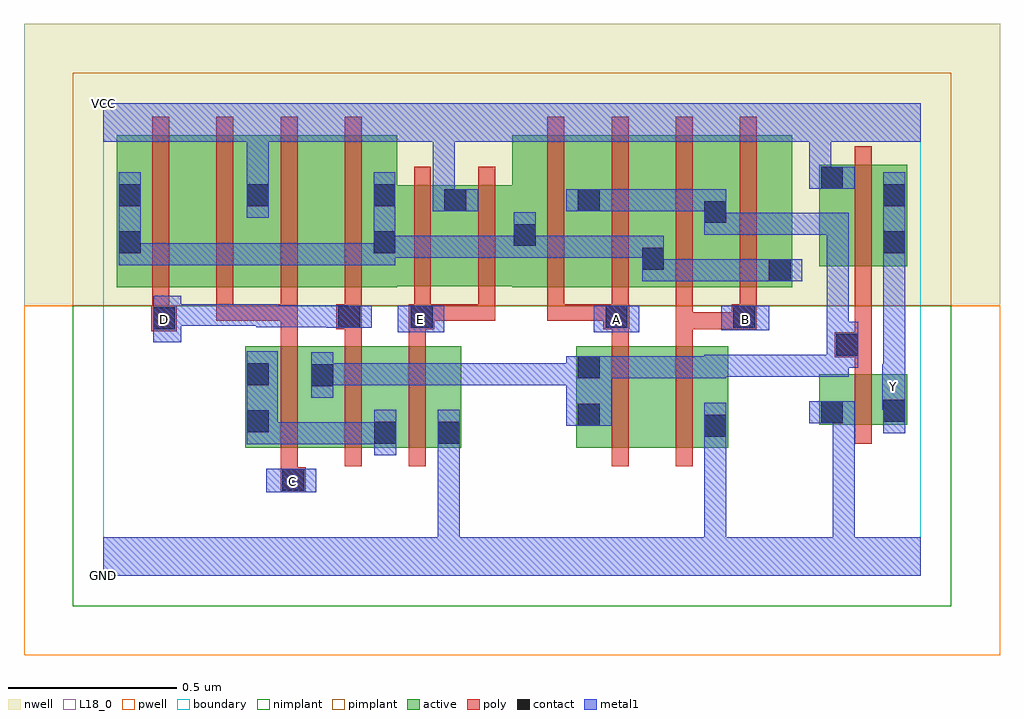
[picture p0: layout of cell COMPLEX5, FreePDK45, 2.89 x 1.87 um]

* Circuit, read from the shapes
.subckt COMPLEX5 A B C D E GND VCC Y
M1 n1 C n2 VSUBS nfet w=0.3u l=0.05u
M2 n2 D n1 VSUBS nfet w=0.3u l=0.05u
M3 GND E n2 VSUBS nfet w=0.3u l=0.05u
M4 n3 A n1 VSUBS nfet w=0.3u l=0.05u
M5 GND B n3 VSUBS nfet w=0.3u l=0.05u
M6 Y n1 GND VSUBS nfet w=0.15u l=0.05u
M7 n4 D n5 n6 pfet w=0.45u l=0.05u
M8 VCC C n4 n6 pfet w=0.45u l=0.05u
M9 n7 C VCC n6 pfet w=0.45u l=0.05u
M10 n5 D n7 n6 pfet w=0.45u l=0.05u
M11 VCC E n5 n6 pfet w=0.3u l=0.05u m=2
M12 n1 A n5 n6 pfet w=0.45u l=0.05u m=2
M13 n1 B n5 n6 pfet w=0.45u l=0.05u m=2
M14 Y n1 VCC n6 pfet w=0.3u l=0.05u
.ends

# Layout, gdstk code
import gdstk
lib = gdstk.Library(unit=1e-6, precision=1e-09)
def R(c, l, rs):  # rectangles x0, y0, x1, y1
    for r in rs: c.add(gdstk.rectangle(r[:2], r[2:], *l))
def A(c, l, x, y, w, h, nx, ny, dx, dy):  # array of equal rectangles
    R(c, l, [(x+i*dx, y+j*dy, x+i*dx+w, y+j*dy+h) for i in range(nx) for j in range(ny)])
active = (1, 0)
pwell = (2, 0)
nwell = (3, 0)
nimplant = (4, 0)
pimplant = (5, 0)
poly = (9, 0)
contact = (10, 0)
metal1 = (11, 0)
L18_0 = (18, 0)
boundary = (235, 0)

complex5 = lib.new_cell('COMPLEX5')
R(complex5, active, [(0.42,0.38,0.495,0.68), (0.42,0.38,0.685,0.68), (0.61,0.38,0.872,0.68), (0.797,0.38,0.872,0.547), (0.797,0.38,1.06,0.68), (0.985,0.38,1.06,0.68), (1.4,0.38,1.625,0.68), (1.625,0.38,1.85,0.68), (1.775,0.38,1.85,0.547), (1.4,0.382,1.475,0.68), (0.61,0.445,0.685,0.632), (2.12,0.447,2.195,0.597), (2.12,0.447,2.38,0.597), (2.305,0.447,2.38,0.597), (0.04,0.855,0.265,1.305), (0.04,0.855,0.145,1.2), (0.265,0.855,0.495,1.305), (0.42,0.855,0.645,1.305), (0.645,0.855,0.87,1.305), (1.21,0.855,1.475,1.305), (1.4,0.855,1.665,1.305), (1.4,0.855,1.475,1.2), (1.59,0.855,1.85,1.305), (1.59,0.855,1.665,1.07), (1.775,0.855,2.04,1.305), (1.775,0.855,1.85,1.2), (1.965,0.855,2.04,1.047), (0.42,0.857,0.495,1.305), (0.795,0.857,0.87,1.2), (0.795,0.857,1.08,1.157), (1.005,0.857,1.285,1.157), (1.21,0.857,1.285,1.2), (2.12,0.917,2.38,1.217), (2.305,0.917,2.38,1.19), (1.005,1.007,1.08,1.157), (2.12,1.007,2.195,1.217)])
R(complex5, pwell, [(-0.235,-0.235,2.655,0.8)])
R(complex5, nwell, [(-0.235,0.8,2.655,1.635)])
R(complex5, nimplant, [(-0.09,-0.09,2.51,0.8)])
R(complex5, pimplant, [(-0.09,0.8,2.51,1.49)])
A(complex5, poly, 0.525, 0.325, 0.05, 0.41, 3, 1, 0.19, 0)
A(complex5, poly, 0.335, 0.755, 0.05, 0.095, 3, 1, 0.19, 0)
A(complex5, poly, 0.145, 0.8, 0.05, 0.56, 4, 1, 0.19, 0)
A(complex5, poly, 1.315, 0.8, 0.05, 0.56, 4, 1, 0.19, 0)
R(complex5, poly, [(0.525,0.247,0.6,0.322), (0.525,0.272,0.575,0.375), (1.505,0.325,1.555,0.735), (1.695,0.325,1.745,0.735), (2.225,0.392,2.275,0.652), (2.225,0.602,2.275,0.697), (2.165,0.647,2.275,0.722), (2.225,0.672,2.275,0.912), (0.525,0.685,0.575,0.805), (0.715,0.685,0.765,0.78), (0.905,0.685,0.955,0.78), (1.505,0.685,1.555,0.78), (1.695,0.685,1.745,0.78), (0.142,0.725,0.217,0.8), (0.69,0.73,0.765,0.805), (0.905,0.73,0.98,0.805), (1.48,0.73,1.557,0.805), (1.695,0.73,1.91,0.78), (1.695,0.73,1.745,0.78), (1.695,0.73,1.745,0.78), (1.695,0.73,1.745,0.78), (1.695,0.73,1.745,0.85), (1.86,0.73,1.935,0.805), (0.145,0.75,0.195,0.85), (0.335,0.755,0.385,0.805), (0.335,0.755,0.575,0.805), (0.525,0.755,0.575,0.805), (0.525,0.755,0.575,0.805), (0.525,0.755,0.575,0.805), (0.92,0.755,0.97,0.852), (0.93,0.755,0.98,0.805), (0.93,0.755,0.98,0.805), (0.93,0.755,1.16,0.805), (1.11,0.755,1.16,0.805), (1.11,0.755,1.16,0.852), (1.315,0.755,1.365,0.85), (1.315,0.755,1.53,0.805), (1.315,0.755,1.365,0.805), (1.48,0.755,1.53,0.805), (1.48,0.755,1.53,0.805), (1.505,0.755,1.555,0.85), (1.885,0.755,1.935,0.85), (0.92,0.802,0.97,1.212), (1.11,0.802,1.16,1.212), (2.225,0.862,2.275,1.272)])
R(complex5, contact, [(0.53,0.252,0.595,0.317), (0.802,0.392,0.867,0.457), (0.99,0.392,1.055,0.457), (1.78,0.412,1.845,0.477), (0.425,0.425,0.49,0.49), (1.405,0.445,1.47,0.51), (2.125,0.452,2.19,0.517), (2.31,0.457,2.375,0.522), (0.615,0.562,0.68,0.627), (0.425,0.565,0.49,0.63), (1.405,0.585,1.47,0.65), (2.17,0.652,2.235,0.717), (0.147,0.73,0.212,0.795), (0.695,0.735,0.76,0.8), (0.91,0.735,0.975,0.8), (1.487,0.735,1.552,0.8), (1.865,0.735,1.93,0.8), (1.97,0.872,2.035,0.937), (1.595,0.907,1.66,0.972), (0.045,0.955,0.11,1.02), (0.8,0.955,0.865,1.02), (2.31,0.955,2.375,1.02), (1.215,0.977,1.28,1.042), (1.78,1.045,1.845,1.11), (1.01,1.08,1.075,1.145), (1.405,1.08,1.47,1.145), (0.045,1.095,0.11,1.16), (0.425,1.095,0.49,1.16), (0.8,1.095,0.865,1.16), (2.31,1.095,2.375,1.16), (2.125,1.147,2.19,1.212)])
R(complex5, metal1, [(0,0,2.42,0.115), (0.99,0.05,1.055,0.115), (0.99,0.05,1.055,0.115), (0.99,0.05,1.055,0.115), (0.99,0.05,1.055,0.115), (0.99,0.05,1.055,0.422), (1.78,0.05,1.845,0.115), (1.78,0.05,1.845,0.115), (1.78,0.05,1.845,0.442), (2.16,0.05,2.225,0.115), (2.16,0.05,2.225,0.115), (2.16,0.05,2.225,0.517), (0.482,0.247,0.63,0.317), (0.802,0.357,0.867,0.492), (0.99,0.357,1.055,0.422), (0.99,0.357,1.055,0.422), (0.99,0.357,1.055,0.492), (1.78,0.377,1.845,0.442), (1.78,0.377,1.845,0.442), (1.78,0.377,1.845,0.442), (1.78,0.377,1.845,0.442), (1.78,0.377,1.845,0.512), (0.425,0.39,0.517,0.665), (0.452,0.39,0.517,0.455), (0.452,0.39,0.517,0.455), (0.452,0.39,0.68,0.455), (0.615,0.39,0.68,0.455), (0.615,0.39,0.68,0.455), (0.615,0.39,0.68,0.455), (0.615,0.39,0.867,0.455), (2.31,0.422,2.375,0.557), (1.37,0.445,1.505,0.65), (2.09,0.452,2.225,0.517), (2.16,0.452,2.225,0.517), (2.16,0.452,2.225,0.517), (2.16,0.452,2.225,0.517), (2.16,0.452,2.225,0.517), (2.16,0.452,2.225,0.517), (2.16,0.452,2.225,0.517), (2.307,0.492,2.375,0.627), (2.31,0.492,2.375,0.557), (0.615,0.527,0.68,0.662), (2.31,0.562,2.375,0.985), (0.615,0.565,0.68,0.63), (0.615,0.565,0.68,0.63), (0.615,0.565,0.862,0.63), (0.797,0.565,0.862,0.63), (0.797,0.565,0.862,0.63), (0.797,0.565,0.862,0.63), (0.797,0.565,1.005,0.63), (0.94,0.565,1.005,0.63), (0.94,0.565,1.005,0.63), (0.94,0.565,1.005,0.63), (0.94,0.565,1.147,0.63), (1.082,0.565,1.147,0.63), (1.082,0.565,1.147,0.63), (1.082,0.565,1.147,0.63), (1.082,0.565,1.435,0.63), (1.44,0.585,1.505,0.65), (1.44,0.585,1.505,0.65), (1.44,0.585,1.642,0.65), (1.577,0.585,1.642,0.65), (1.577,0.585,1.642,0.65), (1.577,0.585,1.642,0.65), (1.577,0.585,1.845,0.65), (1.78,0.585,1.845,0.655), (1.78,0.59,2.017,0.655), (1.952,0.59,2.017,0.655), (1.952,0.59,2.017,0.655), (1.952,0.59,2.017,0.655), (1.952,0.59,2.207,0.655), (2.142,0.59,2.207,0.655), (2.142,0.59,2.207,0.655), (2.142,0.59,2.207,0.682), (2.142,0.617,2.235,0.682), (2.142,0.617,2.207,1.075), (2.17,0.617,2.235,0.752), (0.147,0.692,0.23,0.83), (0.872,0.722,1.01,0.8), (1.452,0.722,1.587,0.8), (1.83,0.727,1.972,0.8), (0.66,0.735,0.725,0.8), (0.66,0.735,0.795,0.8), (0.66,0.735,0.725,0.802), (0.452,0.737,0.725,0.802), (0.452,0.737,0.517,0.805), (0.165,0.74,0.352,0.805), (0.287,0.74,0.352,0.805), (0.287,0.74,0.37,0.805), (0.305,0.74,0.37,0.805), (0.305,0.74,0.517,0.805), (0.452,0.74,0.517,0.805), (0.452,0.74,0.517,0.805), (1.595,0.872,1.66,1.007), (1.595,0.872,1.687,0.937), (1.622,0.872,1.687,0.937), (1.622,0.872,1.845,0.937), (1.78,0.872,1.845,0.937), (1.78,0.872,2,0.937), (1.935,0.872,2,0.937), (1.935,0.872,2,0.937), (1.935,0.872,2.07,0.937), (0.045,0.92,0.11,1.195), (0.045,0.92,0.11,0.985), (0.045,0.92,0.11,0.985), (0.045,0.92,0.352,0.985), (0.287,0.92,0.352,0.985), (0.287,0.92,0.37,0.985), (0.305,0.92,0.37,0.985), (0.305,0.92,0.542,0.985), (0.477,0.92,0.542,0.985), (0.477,0.92,0.542,0.985), (0.477,0.92,0.542,0.985), (0.477,0.92,0.68,0.985), (0.615,0.92,0.68,0.985), (0.615,0.92,0.68,0.985), (0.615,0.92,0.68,0.985), (0.615,0.92,0.865,0.985), (0.8,0.92,0.865,1.195), (2.31,0.92,2.375,1.195), (0.8,0.942,0.865,1.007), (0.8,0.942,0.865,1.007), (0.8,0.942,1.01,1.007), (0.945,0.942,1.01,1.007), (0.945,0.942,1.01,1.007), (0.945,0.942,1.01,1.007), (0.945,0.942,1.28,1.007), (1.215,0.942,1.28,1.007), (1.215,0.942,1.28,1.007), (1.215,0.942,1.28,1.077), (1.215,0.942,1.505,1.007), (1.44,0.942,1.505,1.007), (1.44,0.942,1.505,1.007), (1.44,0.942,1.505,1.007), (1.44,0.942,1.66,1.007), (1.78,1.01,1.845,1.145), (1.78,1.01,2.017,1.075), (1.952,1.01,2.017,1.075), (1.952,1.01,2.017,1.075), (1.952,1.01,2.017,1.075), (1.952,1.01,2.207,1.075), (2.142,1.01,2.207,1.075), (2.142,1.01,2.207,1.075), (2.142,1.01,2.207,1.075), (0.425,1.06,0.49,1.195), (0.975,1.08,1.11,1.145), (0.975,1.08,1.04,1.35), (1.37,1.08,1.505,1.145), (1.44,1.08,1.505,1.145), (1.44,1.08,1.505,1.145), (1.44,1.08,1.707,1.145), (1.642,1.08,1.707,1.145), (1.642,1.08,1.707,1.145), (1.642,1.08,1.707,1.145), (1.642,1.08,1.845,1.145), (0.425,1.13,0.49,1.35), (2.09,1.147,2.155,1.35), (2.09,1.147,2.225,1.212), (0,1.285,2.42,1.4), (0.975,1.285,1.04,1.35), (0.975,1.285,1.04,1.35), (2.09,1.285,2.155,1.35), (2.09,1.285,2.155,1.35)])
R(complex5, L18_0, [(0,0,2.42,0.115), (0.99,0.05,1.055,0.115), (0.99,0.05,1.055,0.115), (0.99,0.05,1.055,0.115), (0.99,0.05,1.055,0.115), (0.99,0.05,1.055,0.422), (1.78,0.05,1.845,0.115), (1.78,0.05,1.845,0.115), (1.78,0.05,1.845,0.442), (2.16,0.05,2.225,0.115), (2.16,0.05,2.225,0.115), (2.16,0.05,2.225,0.517), (0.482,0.247,0.63,0.317), (0.527,0.247,0.592,0.312), (0.99,0.357,1.055,0.422), (0.99,0.357,1.055,0.422), (0.99,0.357,1.055,0.492), (1.78,0.377,1.845,0.442), (1.78,0.377,1.845,0.442), (1.78,0.377,1.845,0.442), (1.78,0.377,1.845,0.442), (1.78,0.377,1.845,0.512), (2.31,0.422,2.375,0.557), (2.09,0.452,2.225,0.517), (2.16,0.452,2.225,0.517), (2.16,0.452,2.225,0.517), (2.16,0.452,2.225,0.517), (2.16,0.452,2.225,0.517), (2.16,0.452,2.225,0.517), (2.16,0.452,2.225,0.517), (2.307,0.492,2.375,0.627), (2.31,0.492,2.375,0.557), (2.307,0.527,2.372,0.592), (2.31,0.562,2.375,0.985), (0.147,0.692,0.23,0.83), (0.872,0.722,1.01,0.8), (1.452,0.722,1.587,0.8), (0.147,0.727,0.212,0.792), (0.907,0.727,0.972,0.792), (1.487,0.727,1.552,0.792), (1.83,0.727,1.972,0.8), (1.867,0.727,1.932,0.792), (0.66,0.735,0.725,0.8), (0.66,0.735,0.725,0.802), (0.66,0.735,0.795,0.8), (0.452,0.737,0.517,0.805), (0.452,0.737,0.725,0.802), (0.165,0.74,0.352,0.805), (0.287,0.74,0.352,0.805), (0.287,0.74,0.37,0.805), (0.305,0.74,0.37,0.805), (0.305,0.74,0.517,0.805), (0.452,0.74,0.517,0.805), (0.452,0.74,0.517,0.805), (2.31,0.92,2.375,1.195), (0.425,1.06,0.49,1.195), (0.975,1.08,1.11,1.145), (0.975,1.08,1.04,1.35), (0.425,1.13,0.49,1.35), (2.09,1.147,2.225,1.212), (2.09,1.147,2.155,1.35), (0,1.285,2.42,1.4), (0.975,1.285,1.04,1.35), (0.975,1.285,1.04,1.35), (2.09,1.285,2.155,1.35), (2.09,1.285,2.155,1.35)])
R(complex5, boundary, [(0,0,2.42,1.4)])
complex5.add(gdstk.Label('A', (1.52,0.76), layer=11, texttype=0))
complex5.add(gdstk.Label('B', (1.9,0.76), layer=11, texttype=0))
complex5.add(gdstk.Label('C', (0.56,0.28), layer=11, texttype=0))
complex5.add(gdstk.Label('D', (0.18,0.76), layer=11, texttype=0))
complex5.add(gdstk.Label('E', (0.94,0.76), layer=11, texttype=0))
complex5.add(gdstk.Label('Y', (2.34,0.56), layer=11, texttype=0))
complex5.add(gdstk.Label('VCC', (0,1.4), layer=11, texttype=0))
complex5.add(gdstk.Label('GND', (0,0), layer=11, texttype=0))

lib.write_gds('COMPLEX5.gds')
